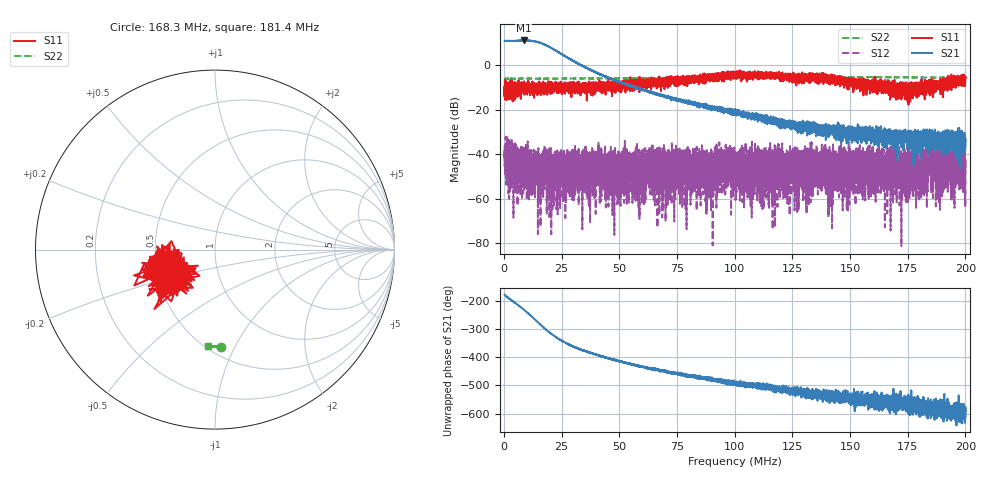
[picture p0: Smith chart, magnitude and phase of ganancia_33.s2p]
# Hz S DB R 50
! CMT, M5065, 19127446, 24.2.4/2
! Date: 10/29/2024 12:33:16 PM
! Data: Format (Calibration Info)
! Freq	S11:dB/Ang(F2)	S21:dB/Ang(F2)	S12:dB/Ang(F2)	S22:dB/Ang(F2)
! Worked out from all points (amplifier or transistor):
!   9000 points, 300 kHz to 200 MHz, reference 50 ohm
!   highest |S21| = 11.2 dB at 8.489 MHz (marker M1)
!   |S21| within 3 dB of that: start of sweep to 19.91 MHz
!   unconditionally stable (mu >= 1): start of sweep to end of sweep
!   at 33.59 MHz: K = 53.35, MAG = 1.7 dB, |S12| = -43.9 dB
!   at 100.2 MHz: K = 740.31, MAG = -17.2 dB, |S12| = -49.4 dB
!   at 200 MHz: K = 2214.89, MAG = -30.3 dB, |S12| = -45.6 dB
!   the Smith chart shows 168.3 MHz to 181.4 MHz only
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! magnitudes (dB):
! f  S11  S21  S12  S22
! 300 kHz  -9.9  11.0  -38.1  -6.0
! 8.489 MHz  -9.2  11.2  -49.0  -5.9
! 11.68 MHz  -12.4  11.1  -46.0  -5.9
! 17.3 MHz  -10.9  9.6  -50.7  -5.9
! 20.65 MHz  -8.7  7.8  -54.5  -6.0
! 33.59 MHz  -11.3  0.1  -43.9  -5.9
! 60.73 MHz  -8.4  -11.1  -48.8  -5.7
! 66.87 MHz  -6.9  -13.1  -47.4  -5.7
! 87.07 MHz  -6.0  -18.1  -52.2  -5.6
! 97.3 MHz  -4.9  -20.0  -45.3  -5.6
! 100.2 MHz  -4.7  -20.4  -49.4  -5.6
! 109.5 MHz  -4.7  -23.3  -46.4  -5.6
! 115.5 MHz  -4.1  -24.4  -44.8  -5.5
! 133.4 MHz  -4.2  -28.1  -47.8  -5.3
! 139.6 MHz  -6.2  -26.3  -52.2  -5.3
! 141.5 MHz  -7.0  -29.9  -41.3  -5.3
! 166.7 MHz  -10.0  -32.3  -48.9  -5.3
! 169.5 MHz  -9.3  -32.3  -43.7  -5.3
! 172.4 MHz  -8.9  -35.2  -40.7  -5.3
! 178.1 MHz  -12.0  -30.6  -48.1  -5.3
! 196.3 MHz  -8.4  -34.5  -43.0  -5.5
! 200 MHz  -5.2  -33.3  -45.6  -5.5
